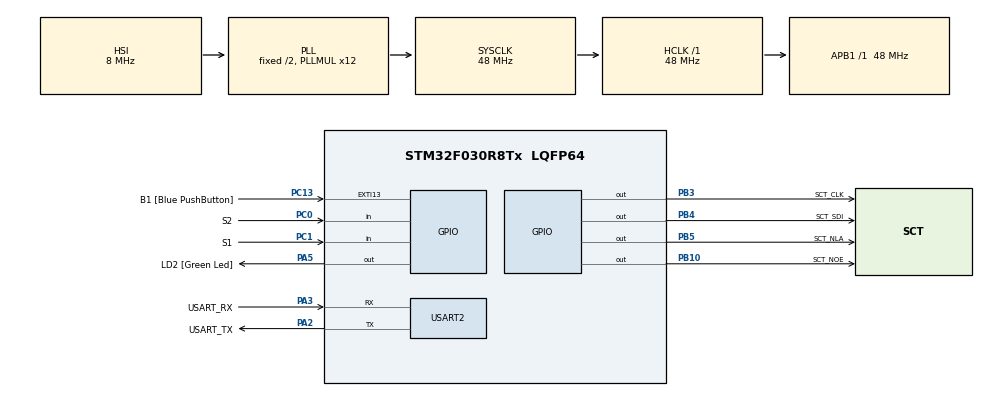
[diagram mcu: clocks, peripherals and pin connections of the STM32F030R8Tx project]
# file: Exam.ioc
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Mcu.Family=STM32F0
Mcu.Name=STM32F030R8Tx
Mcu.Package=LQFP64
PA13.GPIO_Label=TMS
PA13.Mode=Serial_Wire
PA13.Signal=SYS_SWDIO
PA14.GPIO_Label=TCK
PA14.Mode=Serial_Wire
PA14.Signal=SYS_SWCLK
PA2.GPIO_Label=USART_TX
PA2.GPIO_Mode=GPIO_MODE_AF_PP
PA2.GPIO_PuPd=GPIO_NOPULL
PA2.GPIO_Speed=GPIO_SPEED_FREQ_LOW
PA2.Mode=Asynchronous
PA2.Signal=USART2_TX
PA3.GPIO_Label=USART_RX
PA3.GPIO_Mode=GPIO_MODE_AF_PP
PA3.GPIO_PuPd=GPIO_NOPULL
PA3.GPIO_Speed=GPIO_SPEED_FREQ_LOW
PA3.Mode=Asynchronous
PA3.Signal=USART2_RX
PA5.GPIO_Label=LD2 [Green Led]
PA5.GPIO_Mode=GPIO_MODE_OUTPUT_PP
PA5.GPIO_PuPd=GPIO_NOPULL
PA5.GPIO_Speed=GPIO_SPEED_FREQ_LOW
PA5.Signal=GPIO_Output
PB10.GPIO_Label=SCT_NOE
PB10.Signal=GPIO_Output
PB3.GPIO_Label=SCT_CLK
PB3.Signal=GPIO_Output
PB4.GPIO_Label=SCT_SDI
PB4.Signal=GPIO_Output
PB5.GPIO_Label=SCT_NLA
PB5.Signal=GPIO_Output
PC0.GPIO_Label=S2
PC0.GPIO_PuPd=GPIO_PULLUP
PC0.Signal=GPIO_Input
PC1.GPIO_Label=S1
PC1.GPIO_PuPd=GPIO_PULLUP
PC1.Signal=GPIO_Input
PC13.GPIO_Label=B1 [Blue PushButton]
PC13.GPIO_ModeDefaultEXTI=GPIO_MODE_IT_FALLING
PC13.Signal=GPXTI13
PC14-OSC32_IN.Mode=LSE-External-Oscillator
PC14-OSC32_IN.Signal=RCC_OSC32_IN
PC15-OSC32_OUT.Mode=LSE-External-Oscillator
PC15-OSC32_OUT.Signal=RCC_OSC32_OUT
PF0-OSC_IN.Mode=HSE-External-Clock-Source
PF0-OSC_IN.Signal=RCC_OSC_IN
PF1-OSC_OUT.Signal=RCC_OSC_OUT
ProjectManager.HeapSize=0x200
ProjectManager.StackSize=0x400
ProjectManager.TargetToolchain=STM32CubeIDE
RCC.AHBFreq_Value=48000000
RCC.APB1Freq_Value=48000000
RCC.APB1TimFreq_Value=48000000
RCC.HCLKFreq_Value=48000000
RCC.PLLMUL=RCC_PLL_MUL12
RCC.SYSCLKFreq_VALUE=48000000
RCC.SYSCLKSource=RCC_SYSCLKSOURCE_PLLCLK
USART2.VirtualMode-Asynchronous=VM_ASYNC
board=NUCLEO-F030R8

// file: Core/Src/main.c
/* USER CODE BEGIN Header */
/**
  ******************************************************************************
  * @file           : main.c
  * @brief          : Main program body
  ******************************************************************************
  * @attention
  *
  * Copyright (c) 2025 STMicroelectronics.
  * All rights reserved.
  *
  * This software is licensed under terms that can be found in the LICENSE file
  * in the root directory of this software component.
  * If no LICENSE file comes with this software, it is provided AS-IS.
  *
  ******************************************************************************
  */
/* USER CODE END Header */
#include "main.h"

/* USER CODE BEGIN Includes */
#include "sct.h"
/* USER CODE END Includes */

UART_HandleTypeDef huart2;

void SystemClock_Config(void);
static void MX_GPIO_Init(void);
static void MX_USART2_UART_Init(void);

int main(void)
{

  /* MCU Configuration--------------------------------------------------------*/

  /* Reset of all peripherals, Initializes the Flash interface and the Systick. */
  HAL_Init();

  /* Configure the system clock */
  SystemClock_Config();

  /* Initialize all configured peripherals */
  MX_GPIO_Init();
  MX_USART2_UART_Init();
  /* USER CODE BEGIN 2 */
  sct_init();
  /* USER CODE END 2 */

  /* Infinite loop */
  while (1)
  {

    /* USER CODE BEGIN 3 */
    static enum { START, STOP, RESET, SHOW, HIDE } state = RESET; // state machine, default state is RESET
    static uint32_t tick; // systick timer
    static uint16_t time = 0; // stopwatch time
    static uint16_t lapTime = 0; // lap time

    // Check if button S2 is pressed - change the state of the stopwatch
    static uint32_t lastDebounceTimeS2 = 0;
    if (HAL_GPIO_ReadPin(S2_GPIO_Port, S2_Pin) == 0)
    {
      if (HAL_GetTick() - lastDebounceTimeS2 > 200) // non-blocking debounce
      {
      lastDebounceTimeS2 = HAL_GetTick();
      if (state == START)
      {
        lapTime = time;
        state = STOP; // stop the stopwatch
      }
      else if (state == STOP)
      {
        state = RESET; // reset the stopwatch
      }
      else if (state == RESET)
      {
        state = START; // start the stopwatch
      }
      else
      {
        state = START;
      }
      }
    }

    // Check if button S1 is pressed - if so show/hide lap time
    static uint32_t lastDebounceTimeS1 = 0;
    if (HAL_GPIO_ReadPin(S1_GPIO_Port, S1_Pin) == 0)
    {
      if (HAL_GetTick() - lastDebounceTimeS1 > 200) // non-blocking debounce
      {
      lastDebounceTimeS1 = HAL_GetTick();
      if (state == SHOW)
      {
        state = HIDE; // hide lap time
      }
      else if (state == HIDE)
      {
        lapTime = time;
        state = SHOW; // show lap time
      }
      else
      {
        lapTime = time;
        state = SHOW;
      }
      }
    }

    // Update time every 100 ms
    if (tick + 100 <= HAL_GetTick())
    {
      time++;
      tick = HAL_GetTick();
    }

    // Display the time based on the current state
    if (time < 600) // less than 1 minute
    {
      if (state == START || state == HIDE)
      {
      sct_value(time, 0, 1); // show seconds and milliseconds
      }
      else if (state == STOP || state == SHOW)
      {
      sct_value(lapTime, 0, 1); // show lap time
      }
      else if (state == RESET)
      {
      time = 0;
      sct_value(0, 0, 1); // reset display
      }
    }
    else // 1 minute or more
    {
      uint16_t displayTime = (time / 600) * 100 + (time % 600) / 10; // convert to minutes and seconds
      if (state == START || state == HIDE)
      {
      sct_value(displayTime, 0, 0); // show minutes and seconds
      }
      else if (state == STOP || state == SHOW)
      {
      uint16_t displayLapTime = (lapTime / 600) * 100 + (lapTime % 600) / 10;
      sct_value(displayLapTime, 0, 0); // show lap time
      }
      else if (state == RESET)
      {
      time = 0;
      sct_value(0, 0, 0); // reset display
      }
    }

    // Reset time if it reaches 10 mins - maximum it can show is 9:59
    if (time == 600000)
    {
      time = 0; // reset stopwatch
    }

  }
  /* USER CODE END 3 */
}

void SystemClock_Config(void)
{
  RCC_OscInitTypeDef RCC_OscInitStruct = {0};
  RCC_ClkInitTypeDef RCC_ClkInitStruct = {0};

  /** Initializes the RCC Oscillators according to the specified parameters
  * in the RCC_OscInitTypeDef structure.
  */
  RCC_OscInitStruct.OscillatorType = RCC_OSCILLATORTYPE_HSI;
  RCC_OscInitStruct.HSIState = RCC_HSI_ON;
  RCC_OscInitStruct.HSICalibrationValue = RCC_HSICALIBRATION_DEFAULT;
  RCC_OscInitStruct.PLL.PLLState = RCC_PLL_ON;
  RCC_OscInitStruct.PLL.PLLSource = RCC_PLLSOURCE_HSI;
  RCC_OscInitStruct.PLL.PLLMUL = RCC_PLL_MUL12;
  RCC_OscInitStruct.PLL.PREDIV = RCC_PREDIV_DIV1;
  if (HAL_RCC_OscConfig(&RCC_OscInitStruct) != HAL_OK)
  {
    Error_Handler();
  }

  /** Initializes the CPU, AHB and APB buses clocks
  */
  RCC_ClkInitStruct.ClockType = RCC_CLOCKTYPE_HCLK|RCC_CLOCKTYPE_SYSCLK
                              |RCC_CLOCKTYPE_PCLK1;
  RCC_ClkInitStruct.SYSCLKSource = RCC_SYSCLKSOURCE_PLLCLK;
  RCC_ClkInitStruct.AHBCLKDivider = RCC_SYSCLK_DIV1;
  RCC_ClkInitStruct.APB1CLKDivider = RCC_HCLK_DIV1;

  if (HAL_RCC_ClockConfig(&RCC_ClkInitStruct, FLASH_LATENCY_1) != HAL_OK)
  {
    Error_Handler();
  }
}

static void MX_USART2_UART_Init(void)
{

  huart2.Instance = USART2;
  huart2.Init.BaudRate = 38400;
  huart2.Init.WordLength = UART_WORDLENGTH_8B;
  huart2.Init.StopBits = UART_STOPBITS_1;
  huart2.Init.Parity = UART_PARITY_NONE;
  huart2.Init.Mode = UART_MODE_TX_RX;
  huart2.Init.HwFlowCtl = UART_HWCONTROL_NONE;
  huart2.Init.OverSampling = UART_OVERSAMPLING_16;
  huart2.Init.OneBitSampling = UART_ONE_BIT_SAMPLE_DISABLE;
  huart2.AdvancedInit.AdvFeatureInit = UART_ADVFEATURE_NO_INIT;
  if (HAL_UART_Init(&huart2) != HAL_OK)
  {
    Error_Handler();
  }

}

static void MX_GPIO_Init(void)
{
  GPIO_InitTypeDef GPIO_InitStruct = {0};

  /* GPIO Ports Clock Enable */
  __HAL_RCC_GPIOC_CLK_ENABLE();
  __HAL_RCC_GPIOF_CLK_ENABLE();
  __HAL_RCC_GPIOA_CLK_ENABLE();
  __HAL_RCC_GPIOB_CLK_ENABLE();

  /*Configure GPIO pin Output Level */
  HAL_GPIO_WritePin(LD2_GPIO_Port, LD2_Pin, GPIO_PIN_RESET);

  /*Configure GPIO pin Output Level */
  HAL_GPIO_WritePin(GPIOB, SCT_NOE_Pin|SCT_CLK_Pin|SCT_SDI_Pin|SCT_NLA_Pin, GPIO_PIN_RESET);

  /*Configure GPIO pin : B1_Pin */
  GPIO_InitStruct.Pin = B1_Pin;
  GPIO_InitStruct.Mode = GPIO_MODE_IT_FALLING;
  GPIO_InitStruct.Pull = GPIO_NOPULL;
  HAL_GPIO_Init(B1_GPIO_Port, &GPIO_InitStruct);

  /*Configure GPIO pins : S2_Pin S1_Pin */
  GPIO_InitStruct.Pin = S2_Pin|S1_Pin;
  GPIO_InitStruct.Mode = GPIO_MODE_INPUT;
  GPIO_InitStruct.Pull = GPIO_PULLUP;
  HAL_GPIO_Init(GPIOC, &GPIO_InitStruct);

  /*Configure GPIO pin : LD2_Pin */
  GPIO_InitStruct.Pin = LD2_Pin;
  GPIO_InitStruct.Mode = GPIO_MODE_OUTPUT_PP;
  GPIO_InitStruct.Pull = GPIO_NOPULL;
  GPIO_InitStruct.Speed = GPIO_SPEED_FREQ_LOW;
  HAL_GPIO_Init(LD2_GPIO_Port, &GPIO_InitStruct);

  /*Configure GPIO pins : SCT_NOE_Pin SCT_CLK_Pin SCT_SDI_Pin SCT_NLA_Pin */
  GPIO_InitStruct.Pin = SCT_NOE_Pin|SCT_CLK_Pin|SCT_SDI_Pin|SCT_NLA_Pin;
  GPIO_InitStruct.Mode = GPIO_MODE_OUTPUT_PP;
  GPIO_InitStruct.Pull = GPIO_NOPULL;
  GPIO_InitStruct.Speed = GPIO_SPEED_FREQ_LOW;
  HAL_GPIO_Init(GPIOB, &GPIO_InitStruct);

}

void Error_Handler(void)
{
  __disable_irq();
  while (1)
  {
  }
}
